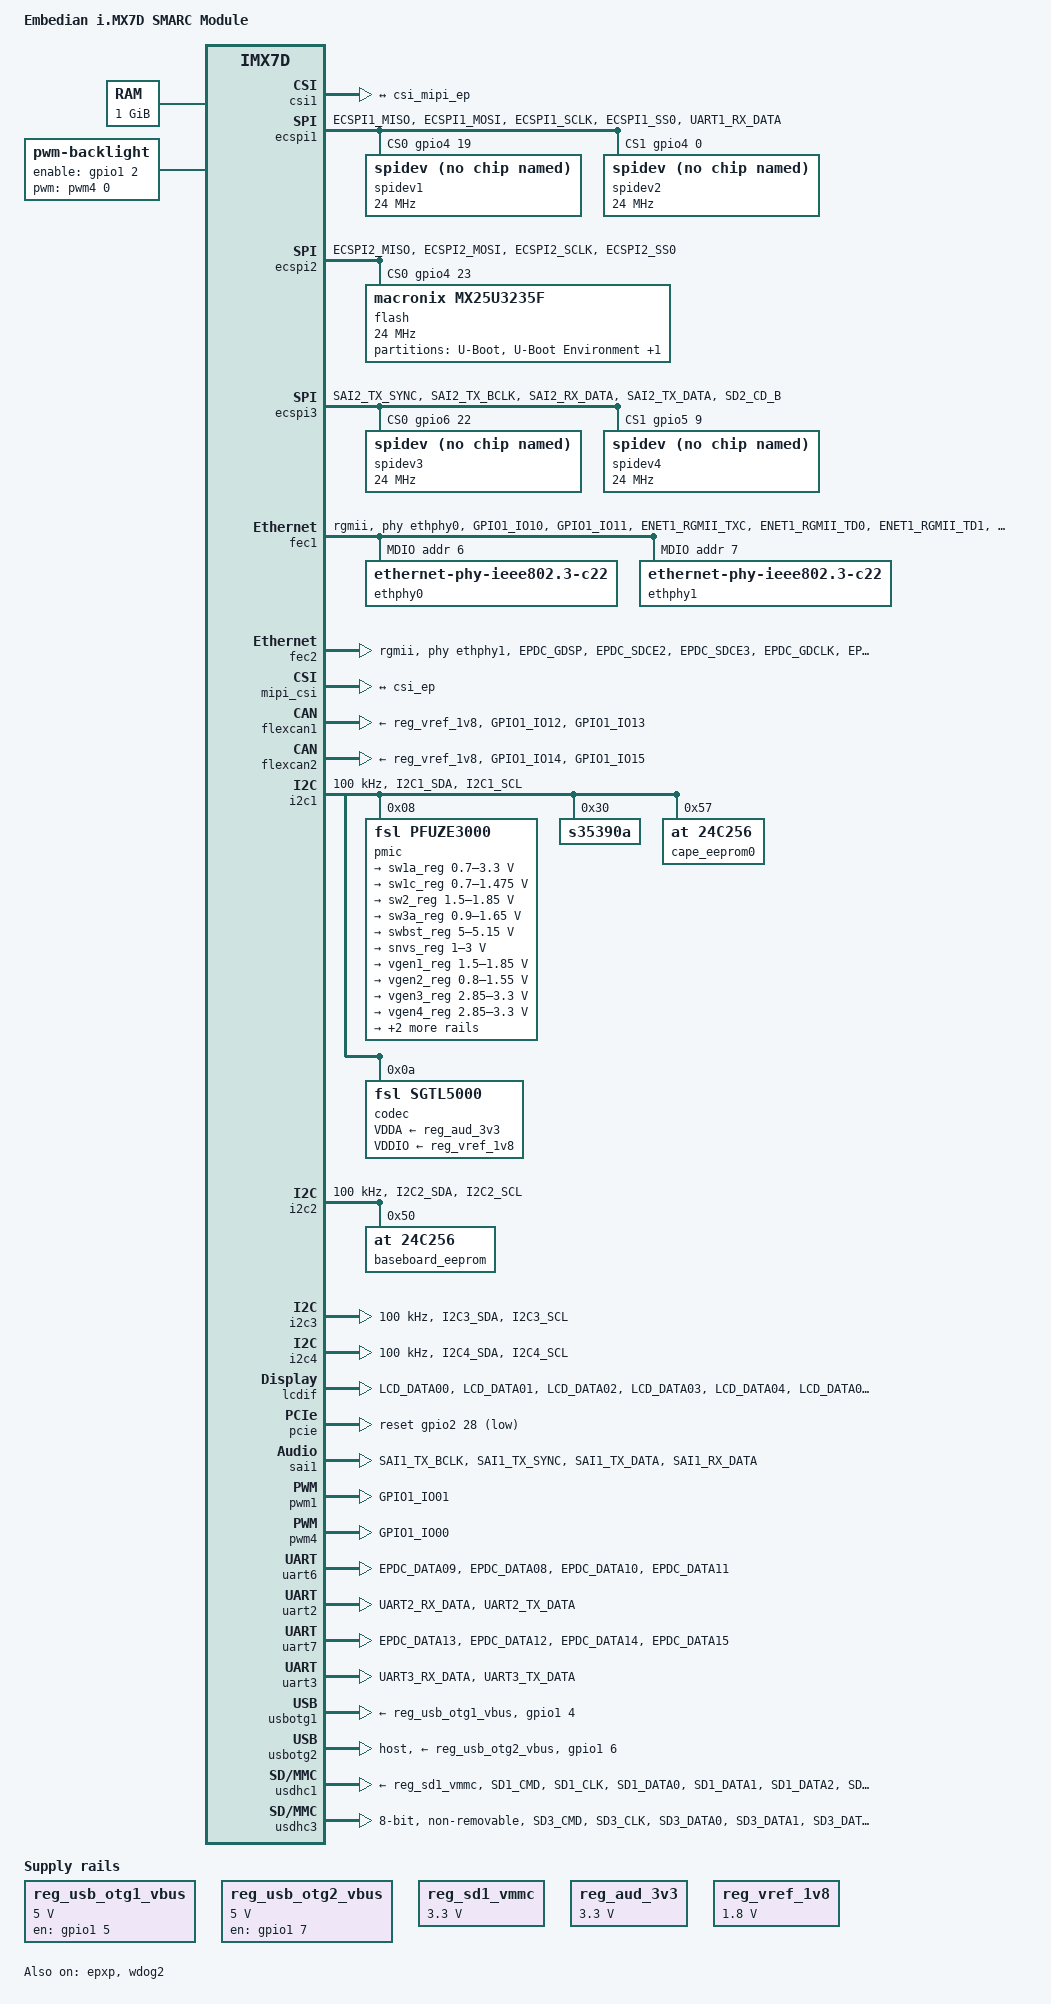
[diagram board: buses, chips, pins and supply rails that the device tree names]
/*
 * This program is free software; you can redistribute it and/or modify
 * it under the terms of the GNU General Public License version 2 as
 * published by the Free Software Foundation.
 */

/dts-v1/;

#include <dt-bindings/input/input.h>
#include "imx7d.dtsi"

/ {
	model = "Embedian i.MX7D SMARC Module";
	compatible = "fsl,imx7d-smarcfimx7", "fsl,imx7d";

	memory {
		reg = <0x80000000 0x40000000>;	/*1 GB */
	};

	backlight {
		compatible = "pwm-backlight";
                enable-gpios = <&gpio1 2 GPIO_ACTIVE_HIGH>; /* Backlight Enable Pin*/
		pwms = <&pwm4 0 5000000>;
		brightness-levels = <0 4 8 16 32 64 128 255>;
		default-brightness-level = <7>;
		status = "okay";
	};

	pxp_v4l2_out {
		compatible = "fsl,imx7d-pxp-v4l2", "fsl,imx6sx-pxp-v4l2", "fsl,imx6sl-pxp-v4l2";
		status = "okay";
	};

        sound {
                compatible = "fsl,imx7d-smarcfimx7-sgtl5000",
                             "fsl,imx-audio-sgtl5000";
                model = "sgtl5000-audio";
                cpu-dai = <&sai1>;
                audio-codec = <&codec>;
                codec-master;
                audio-routing =
                       	"LINE_IN", "Line In Jack",
                        "MIC_IN", "Mic Jack",
                        "Mic Jack", "Mic Bias",
                        "Headphone Jack", "HP_OUT";
        };

	regulators {
		compatible = "simple-bus";
		#address-cells = <1>;
		#size-cells = <0>;

		reg_usb_otg1_vbus: regulator@0 {
			compatible = "regulator-fixed";
			reg = <0>;
			regulator-name = "usb_otg1_vbus";
			regulator-min-microvolt = <5000000>;
			regulator-max-microvolt = <5000000>;
			gpio = <&gpio1 5 GPIO_ACTIVE_HIGH>;
			enable-active-high;
		};

		reg_usb_otg2_vbus: regulator@1 {
			compatible = "regulator-fixed";
			reg = <1>;
			regulator-name = "usb_otg2_vbus";
			regulator-min-microvolt = <5000000>;
			regulator-max-microvolt = <5000000>;
			gpio = <&gpio1 7 GPIO_ACTIVE_HIGH>;
			enable-active-high;
		};

		reg_sd1_vmmc: regulator@3 {
			compatible = "regulator-fixed";
			regulator-name = "VDD_SD1";
			regulator-min-microvolt = <3300000>;
			regulator-max-microvolt = <3300000>;
			startup-delay-us = <70000>;
			enable-active-high;
		};

                reg_aud_3v3: regulator@4 {
                        compatible = "regulator-fixed";
                        reg = <4>;
                        regulator-name = "aud-3v3";
                        regulator-min-microvolt = <3300000>;
                        regulator-max-microvolt = <3300000>;
                };

		reg_vref_1v8: regulator@5 {
			compatible = "regulator-fixed";
			reg = <5>;
			regulator-name = "vref-1v8";
			regulator-min-microvolt = <1800000>;
			regulator-max-microvolt = <1800000>;
			regulator-always-on;
		};
	};
};

&cpu0 {
	arm-supply = <&sw1a_reg>;
};

&clks {
	assigned-clocks = <&clks IMX7D_PLL_AUDIO_POST_DIV>;
	assigned-clock-rates = <884736000>;
};

&csi1 {
	csi-mux-mipi = <&gpr 0x14 4>;
	status = "okay";

	port {
		csi_ep: endpoint {
			remote-endpoint = <&csi_mipi_ep>;
		};
	};
};

&epxp {
        status = "okay";
};

/* SPI0 */
&ecspi1 {
        fsl,spi-num-chipselects = <2>;
        cs-gpios = <&gpio4 19 GPIO_ACTIVE_HIGH>, <&gpio4 0 GPIO_ACTIVE_HIGH>;
        pinctrl-names = "default";
        pinctrl-0 = <&pinctrl_ecspi1 &pinctrl_ecspi1_cs>;
        status = "okay";

        spidev1: spidev@0 {
                compatible = "spidev";
                spi-max-frequency = <24000000>;
                reg = <0>;
        };
        spidev2: spidev@1 {
                compatible = "spidev";
                spi-max-frequency = <24000000>;
                reg = <1>;
        };
};

/* SPINOR */
&ecspi2 {
        fsl,spi-num-chipselects = <1>;
        pinctrl-names = "default";
        pinctrl-0 = <&pinctrl_ecspi2 &pinctrl_ecspi2_cs>;
        cs-gpios = <&gpio4 23 GPIO_ACTIVE_HIGH>;
        status = "okay";

        flash: mx25u3235f@0 {
                #address-cells = <1>;
                #size-cells = <1>;
                compatible = "macronix,mx25u3235f", "jedec,spi-nor";
                spi-max-frequency = <24000000>;
                reg = <0>;
                        partition@0 {
                                label = "U-Boot";
                                reg = <0x0 0x100000>;
                        };

                        partition@100000 {
                                label = "U-Boot Environment";
                                reg = <0x100000 0x080000>;
                        };

                        partition@180000 {
                                label = "Flattened Device Tree";
                                reg = <0x180000 0x200000>;
                        };

        };
};

/* ECSPI */
&ecspi3 {
	fsl,spi-num-chipselects = <2>;
	pinctrl-names = "default";
	pinctrl-0 = <&pinctrl_ecspi3 &pinctrl_ecspi3_cs>;
        cs-gpios = <&gpio6 22 GPIO_ACTIVE_HIGH>, <&gpio5 9 GPIO_ACTIVE_HIGH>;
	status = "okay";

        spidev3: spidev@0 {
                compatible = "spidev";
                spi-max-frequency = <24000000>;
                reg = <0>;
        };
        spidev4: spidev@4 {
                compatible = "spidev";
                spi-max-frequency = <24000000>;
                reg = <1>;
        };
};

&fec1 {
	pinctrl-names = "default";
	pinctrl-0 = <&pinctrl_enet1>;
	assigned-clocks = <&clks IMX7D_ENET1_TIME_ROOT_SRC>,
			  <&clks IMX7D_ENET1_TIME_ROOT_CLK>;
	assigned-clock-parents = <&clks IMX7D_PLL_ENET_MAIN_100M_CLK>;
	assigned-clock-rates = <0>, <100000000>;
	phy-mode = "rgmii";
	phy-handle = <&ethphy0>;
	fsl,magic-packet;
	status = "okay";

	mdio {
		#address-cells = <1>;
		#size-cells = <0>;

		ethphy0: ethernet-phy@6 {
			compatible = "ethernet-phy-ieee802.3-c22";
			reg = <0x6>;
		};

		ethphy1: ethernet-phy@7 {
			compatible = "ethernet-phy-ieee802.3-c22";
			reg = <0x7>;
		};
	};
};

&fec2 {
	pinctrl-names = "default";
	pinctrl-0 = <&pinctrl_enet2>;
	assigned-clocks = <&clks IMX7D_ENET2_TIME_ROOT_SRC>,
			  <&clks IMX7D_ENET2_TIME_ROOT_CLK>;
	assigned-clock-parents = <&clks IMX7D_PLL_ENET_MAIN_100M_CLK>;
	assigned-clock-rates = <0>, <100000000>;
	phy-mode = "rgmii";
	phy-handle = <&ethphy1>;
	fsl,magic-packet;
	status = "okay";
};

&mipi_csi {
	clock-frequency = <240000000>;
	status = "okay";
	port {
		csi_mipi_ep: endpoint1 {
			remote-endpoint = <&csi_ep>;
		};
	};
};

&flexcan1 {
        pinctrl-names = "default";
        pinctrl-0 = <&pinctrl_flexcan1>;
        xceiver-supply = <&reg_vref_1v8>;
        status = "okay";
};

&flexcan2 {
	pinctrl-names = "default";
	pinctrl-0 = <&pinctrl_flexcan2>;
	xceiver-supply = <&reg_vref_1v8>;
	status = "okay";
};

&i2c1 {
	clock-frequency = <100000>;
	pinctrl-names = "default";
	pinctrl-0 = <&pinctrl_i2c1>;
	status = "okay";

	pmic: pfuze3000@08 {
		compatible = "fsl,pfuze3000";
		reg = <0x08>;

		regulators {
			sw1a_reg: sw1a {
				regulator-min-microvolt = <700000>;
				regulator-max-microvolt = <3300000>;
				regulator-boot-on;
				regulator-always-on;
				regulator-ramp-delay = <6250>;
			};

			/* use sw1c_reg to align with pfuze100/pfuze200 */
			sw1c_reg: sw1b {
				regulator-min-microvolt = <700000>;
				regulator-max-microvolt = <1475000>;
				regulator-boot-on;
				regulator-always-on;
				regulator-ramp-delay = <6250>;
			};

			sw2_reg: sw2 {
				regulator-min-microvolt = <1500000>;
				regulator-max-microvolt = <1850000>;
				regulator-boot-on;
				regulator-always-on;
			};

			sw3a_reg: sw3 {
				regulator-min-microvolt = <900000>;
				regulator-max-microvolt = <1650000>;
				regulator-boot-on;
				regulator-always-on;
			};

			swbst_reg: swbst {
				regulator-min-microvolt = <5000000>;
				regulator-max-microvolt = <5150000>;
			};

			snvs_reg: vsnvs {
				regulator-min-microvolt = <1000000>;
				regulator-max-microvolt = <3000000>;
				regulator-boot-on;
				regulator-always-on;
			};

			vref_reg: vrefddr {
				regulator-boot-on;
				regulator-always-on;
			};

			vgen1_reg: vldo1 {
                                regulator-min-microvolt = <1500000>;
                                regulator-max-microvolt = <1850000>;
				regulator-always-on;
			};

			vgen2_reg: vldo2 {
				regulator-min-microvolt = <800000>;
				regulator-max-microvolt = <1550000>;
				regulator-always-on;
			};

			vgen3_reg: vccsd {
				regulator-min-microvolt = <2850000>;
				regulator-max-microvolt = <3300000>;
				regulator-always-on;
			};

			vgen4_reg: v33 {
				regulator-min-microvolt = <2850000>;
				regulator-max-microvolt = <3300000>;
				regulator-always-on;
			};

			vgen5_reg: vldo3 {
				regulator-min-microvolt = <1800000>;
				regulator-max-microvolt = <3300000>;
				regulator-always-on;
			};

			vgen6_reg: vldo4 {
				regulator-min-microvolt = <1800000>;
				regulator-max-microvolt = <3300000>;
				regulator-always-on;
			};
		};
	};

        s35390a: s35390a@30 {
                compatible = "s35390a";
                reg = <0x30>;
        };

        cape_eeprom0: cape_eeprom@57 {
                compatible = "at,24c256";
                reg = <0x57>;
        };

        codec: sgtl5000@0a {
                compatible = "fsl,sgtl5000";
                reg = <0x0a>;
                clocks = <&clks IMX7D_AUDIO_MCLK_ROOT_CLK>;
                clock-names = "mclk";
                pinctrl-names = "default";
                pinctrl-0 = <&pinctrl_sai1_mclk>;
                VDDA-supply = <&reg_aud_3v3>;
                VDDIO-supply = <&reg_vref_1v8>;
                assigned-clocks = <&clks IMX7D_AUDIO_MCLK_ROOT_SRC>,
                                  <&clks IMX7D_AUDIO_MCLK_ROOT_CLK>;
                assigned-clock-parents = <&clks IMX7D_PLL_AUDIO_POST_DIV>;
                assigned-clock-rates = <0>, <12288000>;
        };
};

&i2c2 {
	clock-frequency = <100000>;
	pinctrl-names = "default";
	pinctrl-0 = <&pinctrl_i2c2>;
	status = "okay";

        baseboard_eeprom: baseboard_eeprom@50 {
                compatible = "at,24c256";
                reg = <0x50>;
        };
};

&i2c3 {
	clock-frequency = <100000>;
	pinctrl-names = "default";
	pinctrl-0 = <&pinctrl_i2c3>;
	status = "okay";
};

&i2c4 {
	clock-frequency = <100000>;
	pinctrl-names = "default";
	pinctrl-0 = <&pinctrl_i2c4>;
	status = "okay";
};

&iomuxc {
	pinctrl-names = "default";
	pinctrl-0 = <&pinctrl_hog_1>;

	imx7d-smarcfimx7 {
		pinctrl_hog_1: hoggrp-1 {
			fsl,pins = <
				MX7D_PAD_SD2_CMD__GPIO5_IO13		0x80000000  	/* lvds channel select */
				MX7D_PAD_EPDC_PWR_STAT__GPIO2_IO31	0x80000000	/* pcie_wake# */
                                MX7D_PAD_EPDC_DATA00__GPIO2_IO0      	0x80000000      /* GPIO0 */
				MX7D_PAD_EPDC_DATA01__GPIO2_IO1		0x80000000      /* GPIO1 */
                                MX7D_PAD_EPDC_DATA02__GPIO2_IO2         0x80000000      /* GPIO2 */
				MX7D_PAD_EPDC_DATA03__GPIO2_IO3		0x80000000      /* GPIO3 */
 				MX7D_PAD_EPDC_DATA04__GPIO2_IO4		0x80000000      /* GPIO4 */
				MX7D_PAD_EPDC_DATA05__GPIO2_IO5		0x80000000      /* GPIO6 */
				MX7D_PAD_EPDC_DATA07__GPIO2_IO7		0x80000000      /* GPIO7 */
 				MX7D_PAD_EPDC_DATA06__GPIO2_IO6		0x80000000      /* GPIO8 */
				MX7D_PAD_UART1_TX_DATA__GPIO4_IO1	0x80000000      /* GPIO9 */
				MX7D_PAD_UART3_RTS_B__GPIO4_IO6		0x80000000      /* GPIO10 */
				MX7D_PAD_UART3_CTS_B__GPIO4_IO7		0x80000000      /* GPIO11 */
				MX7D_PAD_SD2_DATA0__GPIO5_IO14		0x80000000      /* SLEEP# */
				MX7D_PAD_GPIO1_IO09__GPIO1_IO9		0x80000000      /* CHARGER_PRSNT# */
				MX7D_PAD_GPIO1_IO08__GPIO1_IO8		0x80000000      /* CHARGING# */
				MX7D_PAD_SAI1_RX_SYNC__GPIO6_IO16	0x80000000      /* CARRIER_STBY# */
				MX7D_PAD_SAI1_RX_BCLK__GPIO6_IO17	0x80000000      /* CARRIER_PWR_ON# */
				MX7D_PAD_SD2_RESET_B__GPIO5_IO11	0x80000000      /* BATLOW# */
                                MX7D_PAD_SD1_RESET_B__GPIO5_IO2         0x80000000      /* SDIO_PWR_EN */
				MX7D_PAD_LCD_RESET__GPIO3_IO4		0x80000000	/* LCD POWER */
				MX7D_PAD_EPDC_BDR1__GPIO2_IO29		0x80000000      /* RESET_OUT# */
			>;
		};

                pinctrl_ecspi1_cs: ecspi1_cs_grp {
                        fsl,pins = <
				MX7D_PAD_ECSPI1_SS0__GPIO4_IO19		0x14
                                MX7D_PAD_UART1_RX_DATA__GPIO4_IO0	0x14
                        >;
                };

                pinctrl_ecspi1: ecspi1grp {
                        fsl,pins = <
                                MX7D_PAD_ECSPI1_MISO__ECSPI1_MISO	0x2
                                MX7D_PAD_ECSPI1_MOSI__ECSPI1_MOSI	0x2
                                MX7D_PAD_ECSPI1_SCLK__ECSPI1_SCLK      	0x2
                        >;
                };

                pinctrl_ecspi2_cs: ecspi2_cs_grp {
                        fsl,pins = <
                                MX7D_PAD_ECSPI2_SS0__GPIO4_IO23         0x14
                        >;
                };

                pinctrl_ecspi2: ecspi2grp {
                        fsl,pins = <
                                MX7D_PAD_ECSPI2_MISO__ECSPI2_MISO       0x2
                                MX7D_PAD_ECSPI2_MOSI__ECSPI2_MOSI       0x2
                                MX7D_PAD_ECSPI2_SCLK__ECSPI2_SCLK       0x2
                        >;
                };

		pinctrl_ecspi3_cs: ecspi3_cs_grp {
			fsl,pins = <
				MX7D_PAD_SAI2_TX_DATA__GPIO6_IO22	0x14
				MX7D_PAD_SD2_CD_B__GPIO5_IO9          	0x14
			>;
		};

		pinctrl_ecspi3: ecspi3grp {
			fsl,pins = <
				MX7D_PAD_SAI2_TX_SYNC__ECSPI3_MISO	0x2
				MX7D_PAD_SAI2_TX_BCLK__ECSPI3_MOSI	0x2
				MX7D_PAD_SAI2_RX_DATA__ECSPI3_SCLK	0x2
			>;
		};

		pinctrl_enet1: enet1grp {
			fsl,pins = <
				MX7D_PAD_GPIO1_IO10__ENET1_MDIO		0x3
				MX7D_PAD_GPIO1_IO11__ENET1_MDC		0x3
				MX7D_PAD_ENET1_RGMII_TXC__ENET1_RGMII_TXC	0x1
				MX7D_PAD_ENET1_RGMII_TD0__ENET1_RGMII_TD0	0x1
				MX7D_PAD_ENET1_RGMII_TD1__ENET1_RGMII_TD1	0x1
				MX7D_PAD_ENET1_RGMII_TD2__ENET1_RGMII_TD2	0x1
				MX7D_PAD_ENET1_RGMII_TD3__ENET1_RGMII_TD3	0x1
				MX7D_PAD_ENET1_RGMII_TX_CTL__ENET1_RGMII_TX_CTL	0x1
				MX7D_PAD_ENET1_RGMII_RXC__ENET1_RGMII_RXC	0x1
				MX7D_PAD_ENET1_RGMII_RD0__ENET1_RGMII_RD0	0x1
				MX7D_PAD_ENET1_RGMII_RD1__ENET1_RGMII_RD1	0x1
				MX7D_PAD_ENET1_RGMII_RD2__ENET1_RGMII_RD2	0x1
				MX7D_PAD_ENET1_RGMII_RD3__ENET1_RGMII_RD3	0x1
				MX7D_PAD_ENET1_RGMII_RX_CTL__ENET1_RGMII_RX_CTL	0x1
			>;
		};

		pinctrl_enet2: enet2grp {
			fsl,pins = <
				MX7D_PAD_EPDC_GDSP__ENET2_RGMII_TXC		0x1
				MX7D_PAD_EPDC_SDCE2__ENET2_RGMII_TD0		0x1
				MX7D_PAD_EPDC_SDCE3__ENET2_RGMII_TD1		0x1
				MX7D_PAD_EPDC_GDCLK__ENET2_RGMII_TD2		0x1
				MX7D_PAD_EPDC_GDOE__ENET2_RGMII_TD3		0x1
				MX7D_PAD_EPDC_GDRL__ENET2_RGMII_TX_CTL		0x1
				MX7D_PAD_EPDC_SDCE1__ENET2_RGMII_RXC		0x1
				MX7D_PAD_EPDC_SDCLK__ENET2_RGMII_RD0		0x1
				MX7D_PAD_EPDC_SDLE__ENET2_RGMII_RD1		0x1
				MX7D_PAD_EPDC_SDOE__ENET2_RGMII_RD2		0x1
				MX7D_PAD_EPDC_SDSHR__ENET2_RGMII_RD3		0x1
				MX7D_PAD_EPDC_SDCE0__ENET2_RGMII_RX_CTL		0x1
			>;
		};

                pinctrl_epdc0: epdcgrp0 {
                        fsl,pins = <
				MX7D_PAD_EPDC_DATA00__EPDC_DATA0  	0x2
				MX7D_PAD_EPDC_DATA01__EPDC_DATA1  	0x2
				MX7D_PAD_EPDC_DATA02__EPDC_DATA2  	0x2
				MX7D_PAD_EPDC_DATA03__EPDC_DATA3  	0x2
				MX7D_PAD_EPDC_DATA04__EPDC_DATA4  	0x2
				MX7D_PAD_EPDC_DATA05__EPDC_DATA5  	0x2
				MX7D_PAD_EPDC_DATA06__EPDC_DATA6  	0x2
				MX7D_PAD_EPDC_DATA07__EPDC_DATA7  	0x2
				MX7D_PAD_EPDC_DATA08__EPDC_DATA8  	0x2
				MX7D_PAD_EPDC_DATA09__EPDC_DATA9  	0x2
				MX7D_PAD_EPDC_DATA10__EPDC_DATA10 	0x2
				MX7D_PAD_EPDC_DATA11__EPDC_DATA11 	0x2
				MX7D_PAD_EPDC_DATA12__EPDC_DATA12 	0x2
				MX7D_PAD_EPDC_DATA13__EPDC_DATA13 	0x2
				MX7D_PAD_EPDC_DATA14__EPDC_DATA14 	0x2
				MX7D_PAD_EPDC_DATA15__EPDC_DATA15 	0x2
				MX7D_PAD_EPDC_SDCLK__EPDC_SDCLK   	0x2
				MX7D_PAD_EPDC_SDLE__EPDC_SDLE     	0x2
				MX7D_PAD_EPDC_SDOE__EPDC_SDOE     	0x2
				MX7D_PAD_EPDC_SDSHR__EPDC_SDSHR   	0x2
				MX7D_PAD_EPDC_SDCE0__EPDC_SDCE0   	0x2
				MX7D_PAD_EPDC_SDCE1__EPDC_SDCE1   	0x2
				MX7D_PAD_EPDC_GDCLK__EPDC_GDCLK   	0x2
				MX7D_PAD_EPDC_GDOE__EPDC_GDOE     	0x2
				MX7D_PAD_EPDC_GDRL__EPDC_GDRL     	0x2
				MX7D_PAD_EPDC_GDSP__EPDC_GDSP     	0x2
                        >;
                };

                pinctrl_flexcan1: flexcan1grp {
                        fsl,pins = <
				MX7D_PAD_GPIO1_IO12__FLEXCAN1_RX	0x19
                                MX7D_PAD_GPIO1_IO13__FLEXCAN1_TX       	0x59
                        >;
                };

		pinctrl_flexcan2: flexcan2grp {
			fsl,pins = <
				MX7D_PAD_GPIO1_IO14__FLEXCAN2_RX	0x59
				MX7D_PAD_GPIO1_IO15__FLEXCAN2_TX	0x59
			>;
		};

		pinctrl_i2c1: i2c1grp {
			fsl,pins = <
				MX7D_PAD_I2C1_SDA__I2C1_SDA		0x4000007f
				MX7D_PAD_I2C1_SCL__I2C1_SCL		0x4000007f
			>;
		};

		pinctrl_i2c2: i2c2grp {
			fsl,pins = <
				MX7D_PAD_I2C2_SDA__I2C2_SDA		0x4000007f
				MX7D_PAD_I2C2_SCL__I2C2_SCL		0x4000007f
			>;
		};

		pinctrl_i2c3: i2c3grp {
			fsl,pins = <
				MX7D_PAD_I2C3_SDA__I2C3_SDA    		0x4000007f
				MX7D_PAD_I2C3_SCL__I2C3_SCL    		0x4000007f
			>;
		};

		pinctrl_i2c4: i2c4grp {
			fsl,pins = <
				MX7D_PAD_I2C4_SDA__I2C4_SDA		0x4000007f
				MX7D_PAD_I2C4_SCL__I2C4_SCL		0x4000007f
			>;
		};

		pinctrl_lcdif_dat: lcdifdatgrp {
			fsl,pins = <
				MX7D_PAD_LCD_DATA00__LCD_DATA0	0x79
				MX7D_PAD_LCD_DATA01__LCD_DATA1	0x79
				MX7D_PAD_LCD_DATA02__LCD_DATA2	0x79
				MX7D_PAD_LCD_DATA03__LCD_DATA3	0x79
				MX7D_PAD_LCD_DATA04__LCD_DATA4	0x79
				MX7D_PAD_LCD_DATA05__LCD_DATA5	0x79
				MX7D_PAD_LCD_DATA06__LCD_DATA6	0x79
				MX7D_PAD_LCD_DATA07__LCD_DATA7	0x79
				MX7D_PAD_LCD_DATA08__LCD_DATA8	0x79
				MX7D_PAD_LCD_DATA09__LCD_DATA9	0x79
				MX7D_PAD_LCD_DATA10__LCD_DATA10	0x79
				MX7D_PAD_LCD_DATA11__LCD_DATA11	0x79
				MX7D_PAD_LCD_DATA12__LCD_DATA12	0x79
				MX7D_PAD_LCD_DATA13__LCD_DATA13	0x79
				MX7D_PAD_LCD_DATA14__LCD_DATA14	0x79
				MX7D_PAD_LCD_DATA15__LCD_DATA15	0x79
				MX7D_PAD_LCD_DATA16__LCD_DATA16	0x79
				MX7D_PAD_LCD_DATA17__LCD_DATA17	0x79
				MX7D_PAD_LCD_DATA18__LCD_DATA18	0x79
				MX7D_PAD_LCD_DATA19__LCD_DATA19	0x79
				MX7D_PAD_LCD_DATA20__LCD_DATA20	0x79
				MX7D_PAD_LCD_DATA21__LCD_DATA21	0x79
				MX7D_PAD_LCD_DATA22__LCD_DATA22	0x79
				MX7D_PAD_LCD_DATA23__LCD_DATA23	0x79
			>;
		};

		pinctrl_lcdif_ctrl: lcdifctrlgrp {
			fsl,pins = <
				MX7D_PAD_LCD_CLK__LCD_CLK	0x79
				MX7D_PAD_LCD_ENABLE__LCD_ENABLE	0x79
				MX7D_PAD_LCD_VSYNC__LCD_VSYNC	0x79
				MX7D_PAD_LCD_HSYNC__LCD_HSYNC	0x79
			>;
		};

		pinctrl_sai1: sai1grp {
			fsl,pins = <
				MX7D_PAD_SAI1_TX_BCLK__SAI1_TX_BCLK     0x1f
				MX7D_PAD_SAI1_TX_SYNC__SAI1_TX_SYNC	0x1f
				MX7D_PAD_SAI1_TX_DATA__SAI1_TX_DATA0	0x30
				MX7D_PAD_SAI1_RX_DATA__SAI1_RX_DATA0	0x1f
			>;
		};

                pinctrl_sai1_mclk: sai1grp_mclk {
                        fsl,pins = <
                                MX7D_PAD_SAI1_MCLK__SAI1_MCLK           0x1f
                        >;
                };

		pinctrl_sai2: sai2grp {
			fsl,pins = <
				MX7D_PAD_SAI2_TX_BCLK__SAI2_TX_BCLK     0x1f
				MX7D_PAD_SAI2_TX_SYNC__SAI2_TX_SYNC     0x1f
				MX7D_PAD_SAI2_TX_DATA__SAI2_TX_DATA0    0x30
				MX7D_PAD_SAI2_RX_DATA__SAI2_RX_DATA0    0x1f
			>;
		};

		pinctrl_sai3: sai3grp {
			fsl,pins = <
				MX7D_PAD_UART3_TX_DATA__SAI3_TX_BCLK   0x1f
				MX7D_PAD_UART3_CTS_B__SAI3_TX_SYNC     0x1f
				MX7D_PAD_UART3_RTS_B__SAI3_TX_DATA0    0x30
			>;
		};

		pinctrl_uart1: uart1grp {
			fsl,pins = <
				MX7D_PAD_UART1_TX_DATA__UART1_DCE_TX 	0x79
				MX7D_PAD_UART1_RX_DATA__UART1_DCE_RX 	0x79
			>;
		};

                pinctrl_uart2: uart2grp {
                        fsl,pins = <
                               	MX7D_PAD_UART2_RX_DATA__UART2_DCE_RX 	0x79
                                MX7D_PAD_UART2_TX_DATA__UART2_DCE_TX 	0x79
                        >;
                };

                pinctrl_uart3: uart3grp {
                        fsl,pins = <
                                MX7D_PAD_UART3_RX_DATA__UART3_DCE_RX    0x79
                                MX7D_PAD_UART3_TX_DATA__UART3_DCE_TX    0x79
                        >;
                };

		pinctrl_uart5: uart5grp {
			fsl,pins = <
				MX7D_PAD_SAI1_TX_BCLK__UART5_DCE_TX	0x79
				MX7D_PAD_SAI1_RX_DATA__UART5_DCE_RX	0x79
			>;
		};

		pinctrl_uart5dte: uart5dtegrp {
			fsl,pins = <
				MX7D_PAD_SAI1_TX_BCLK__UART5_DTE_RX 0x79
				MX7D_PAD_SAI1_RX_DATA__UART5_DTE_TX 0x79
			>;
		};

		pinctrl_uart6: uart6grp {
			fsl,pins = <
				MX7D_PAD_EPDC_DATA09__UART6_DCE_TX 	0x79
				MX7D_PAD_EPDC_DATA08__UART6_DCE_RX 	0x79
				MX7D_PAD_EPDC_DATA10__UART6_DTE_CTS 	0x79
				MX7D_PAD_EPDC_DATA11__UART6_DTE_RTS 	0x79
			>;
		};

                pinctrl_uart7: uart7grp {
                        fsl,pins = <
                                MX7D_PAD_EPDC_DATA13__UART7_DCE_TX      0x79
                                MX7D_PAD_EPDC_DATA12__UART7_DCE_RX      0x79
                                MX7D_PAD_EPDC_DATA14__UART7_DTE_CTS     0x79
                                MX7D_PAD_EPDC_DATA15__UART7_DTE_RTS     0x79
                        >;
                };

		pinctrl_usdhc1_gpio: usdhc1_gpiogrp {
			fsl,pins = <
				MX7D_PAD_SD1_CD_B__GPIO5_IO0		0x59 /* CD */
				MX7D_PAD_SD1_WP__GPIO5_IO1		0x59 /* WP */
			>;
		};

		pinctrl_usbotg2_pwr_1: usbotg2-1 {
			fsl,pins = <
				MX7D_PAD_UART3_CTS_B__GPIO4_IO7		0x14
			>;
		};

		pinctrl_usdhc1: usdhc1grp {
			fsl,pins = <
				MX7D_PAD_SD1_CMD__SD1_CMD		0x59
				MX7D_PAD_SD1_CLK__SD1_CLK		0x19
				MX7D_PAD_SD1_DATA0__SD1_DATA0		0x59
				MX7D_PAD_SD1_DATA1__SD1_DATA1		0x59
				MX7D_PAD_SD1_DATA2__SD1_DATA2		0x59
				MX7D_PAD_SD1_DATA3__SD1_DATA3		0x59
			>;
		};

		pinctrl_usdhc1_100mhz: usdhc1grp_100mhz {
			fsl,pins = <
				MX7D_PAD_SD1_CMD__SD1_CMD		0x5a
				MX7D_PAD_SD1_CLK__SD1_CLK		0x1a
				MX7D_PAD_SD1_DATA0__SD1_DATA0		0x5a
				MX7D_PAD_SD1_DATA1__SD1_DATA1		0x5a
				MX7D_PAD_SD1_DATA2__SD1_DATA2		0x5a
				MX7D_PAD_SD1_DATA3__SD1_DATA3		0x5a
			>;
		};

		pinctrl_usdhc1_200mhz: usdhc1grp_200mhz {
			fsl,pins = <
				MX7D_PAD_SD1_CMD__SD1_CMD		0x5b
				MX7D_PAD_SD1_CLK__SD1_CLK		0x1b
				MX7D_PAD_SD1_DATA0__SD1_DATA0		0x5b
				MX7D_PAD_SD1_DATA1__SD1_DATA1		0x5b
				MX7D_PAD_SD1_DATA2__SD1_DATA2		0x5b
				MX7D_PAD_SD1_DATA3__SD1_DATA3		0x5b
			>;
		};

		pinctrl_usdhc2: usdhc2grp {
			fsl,pins = <
				MX7D_PAD_SD2_CMD__SD2_CMD       	0x59
				MX7D_PAD_SD2_CLK__SD2_CLK       	0x19
				MX7D_PAD_SD2_DATA0__SD2_DATA0   	0x59
				MX7D_PAD_SD2_DATA1__SD2_DATA1   	0x59
				MX7D_PAD_SD2_DATA2__SD2_DATA2   	0x59
				MX7D_PAD_SD2_DATA3__SD2_DATA3   	0x59
				MX7D_PAD_ECSPI2_MOSI__GPIO4_IO21	0x59 /* WL_REG_ON */
			>;
		};

		pinctrl_usdhc2_100mhz: usdhc2grp_100mhz {
			fsl,pins = <
				MX7D_PAD_SD2_CMD__SD2_CMD       	0x5a
				MX7D_PAD_SD2_CLK__SD2_CLK       	0x1a
				MX7D_PAD_SD2_DATA0__SD2_DATA0   	0x5a
				MX7D_PAD_SD2_DATA1__SD2_DATA1   	0x5a
				MX7D_PAD_SD2_DATA2__SD2_DATA2   	0x5a
				MX7D_PAD_SD2_DATA3__SD2_DATA3   	0x5a
			>;
		};

		pinctrl_usdhc2_200mhz: usdhc2grp_200mhz {
			fsl,pins = <
				MX7D_PAD_SD2_CMD__SD2_CMD       	0x5b
				MX7D_PAD_SD2_CLK__SD2_CLK       	0x1b
				MX7D_PAD_SD2_DATA0__SD2_DATA0   	0x5b
				MX7D_PAD_SD2_DATA1__SD2_DATA1   	0x5b
				MX7D_PAD_SD2_DATA2__SD2_DATA2   	0x5b
				MX7D_PAD_SD2_DATA3__SD2_DATA3   	0x5b
			>;
		};

		pinctrl_usdhc3: usdhc3grp {
			fsl,pins = <
				MX7D_PAD_SD3_CMD__SD3_CMD		0x59
				MX7D_PAD_SD3_CLK__SD3_CLK		0x19
				MX7D_PAD_SD3_DATA0__SD3_DATA0		0x59
				MX7D_PAD_SD3_DATA1__SD3_DATA1		0x59
				MX7D_PAD_SD3_DATA2__SD3_DATA2		0x59
				MX7D_PAD_SD3_DATA3__SD3_DATA3		0x59
				MX7D_PAD_SD3_DATA4__SD3_DATA4		0x59
				MX7D_PAD_SD3_DATA5__SD3_DATA5		0x59
				MX7D_PAD_SD3_DATA6__SD3_DATA6		0x59
				MX7D_PAD_SD3_DATA7__SD3_DATA7		0x59
				MX7D_PAD_SD3_STROBE__SD3_STROBE         0x19
			>;
		};

		pinctrl_usdhc3_100mhz: usdhc3grp_100mhz {
			fsl,pins = <
				MX7D_PAD_SD3_CMD__SD3_CMD		0x5a
				MX7D_PAD_SD3_CLK__SD3_CLK		0x1a
				MX7D_PAD_SD3_DATA0__SD3_DATA0		0x5a
				MX7D_PAD_SD3_DATA1__SD3_DATA1		0x5a
				MX7D_PAD_SD3_DATA2__SD3_DATA2		0x5a
				MX7D_PAD_SD3_DATA3__SD3_DATA3		0x5a
				MX7D_PAD_SD3_DATA4__SD3_DATA4		0x5a
				MX7D_PAD_SD3_DATA5__SD3_DATA5		0x5a
				MX7D_PAD_SD3_DATA6__SD3_DATA6		0x5a
				MX7D_PAD_SD3_DATA7__SD3_DATA7		0x5a
				MX7D_PAD_SD3_STROBE__SD3_STROBE         0x1a
			>;
		};

		pinctrl_usdhc3_200mhz: usdhc3grp_200mhz {
			fsl,pins = <
				MX7D_PAD_SD3_CMD__SD3_CMD		0x5b
				MX7D_PAD_SD3_CLK__SD3_CLK		0x1b
				MX7D_PAD_SD3_DATA0__SD3_DATA0		0x5b
				MX7D_PAD_SD3_DATA1__SD3_DATA1		0x5b
				MX7D_PAD_SD3_DATA2__SD3_DATA2		0x5b
				MX7D_PAD_SD3_DATA3__SD3_DATA3		0x5b
				MX7D_PAD_SD3_DATA4__SD3_DATA4		0x5b
				MX7D_PAD_SD3_DATA5__SD3_DATA5		0x5b
				MX7D_PAD_SD3_DATA6__SD3_DATA6		0x5b
				MX7D_PAD_SD3_DATA7__SD3_DATA7		0x5b
				MX7D_PAD_SD3_STROBE__SD3_STROBE         0x1b
			>;
		};

                pinctrl_wdog: wdoggrp {
                        fsl,pins = <
                                MX7D_PAD_ENET1_RX_CLK__WDOG2_WDOG_B     0x74
                        >;
                };
	};
};

&lcdif {
	pinctrl-names = "default";
	pinctrl-0 = <&pinctrl_lcdif_dat
		     &pinctrl_lcdif_ctrl>;
	display = <&display0>;
	status = "okay";

	display0: lcd-display {
		bits-per-pixel = <32>;
		bus-width = <24>;

		display-timings {
			native-mode = <&timing0>;
			timing0: g070vw01 {
			clock-frequency = <33300000>;
			hactive = <800>;
			vactive = <480>;
			hfront-porch = <64>;
			hback-porch = <64>;
			hsync-len = <128>;
			vback-porch = <12>;
			vfront-porch = <4>;
			vsync-len = <12>;

			hsync-active = <0>;
			vsync-active = <0>;
			de-active = <1>;
			pixelclk-active = <0>;
			};
		};
	};
};

&pcie {
	pinctrl-names = "default";
	reset-gpio = <&gpio2 28 GPIO_ACTIVE_LOW>;
	status = "okay";
};

&sai1 {
	pinctrl-names = "default";
	pinctrl-0 = <&pinctrl_sai1>;
        assigned-clocks = <&clks IMX7D_SAI1_ROOT_SRC>,
                          <&clks IMX7D_SAI1_ROOT_CLK>;
        assigned-clock-parents = <&clks IMX7D_PLL_AUDIO_POST_DIV>;
        assigned-clock-rates = <0>, <36864000>;
	status = "okay";
};

&sdma {
	status = "okay";
};

/* GPIO5 configure as pwm1, to use GPIO5 as GPIO disabled this pin */

&pwm1 {
        pinctrl-names = "default";
        pinctrl-0 = <&pinctrl_pwm1>;
        status = "okay";
};

&pwm4 {
	pinctrl-names = "default";
	pinctrl-0 = <&pinctrl_pwm4>;
	status = "okay";
};

&iomuxc_lpsr {
	pinctrl-names = "default";
	pinctrl-0 = <&pinctrl_hog_2 &pinctrl_usbotg2_pwr_2>;

	imx7d-smarcfimx7 {
		pinctrl_hog_2: hoggrp-2 {
			fsl,pins = <
				MX7D_PAD_GPIO1_IO05__GPIO1_IO5	  	0x14
			>;
		};

                pinctrl_pwm1: pwm1grp {
                        fsl,pins = <
                                MX7D_PAD_GPIO1_IO01__PWM1_OUT     	0x30
                        >;
                };

		pinctrl_pwm4: pwm4grp {
			fsl,pins = <
				MX7D_PAD_GPIO1_IO00__PWM4_OUT	  	0x30
			>;
		};

		pinctrl_usbotg2_pwr_2: usbotg2-2 {
			fsl,pins = <
				MX7D_PAD_GPIO1_IO07__GPIO1_IO7 0x14
			>;
		};

		pinctrl_enet2_epdc0_en: enet2_epdc0_grp {
			fsl,pins = <
				MX7D_PAD_GPIO1_IO04__GPIO1_IO4		0x59
			>;
		};

		pinctrl_sai3_mclk: sai3grp_mclk {
			fsl,pins = <
				MX7D_PAD_GPIO1_IO03__SAI3_MCLK         	0x1f
			>;
		};
	};
};

/* SER0/UART6 */
&uart6 {
        pinctrl-names = "default";
        pinctrl-0 = <&pinctrl_uart6>;
        assigned-clocks = <&clks IMX7D_UART6_ROOT_SRC>;
        assigned-clock-parents = <&clks IMX7D_PLL_SYS_MAIN_240M_CLK>;
        fsl,uart-has-rtscts;
        status = "okay";
};

/* SER1/UART2 */
&uart2 {
        pinctrl-names = "default";
        pinctrl-0 = <&pinctrl_uart2>;
        assigned-clocks = <&clks IMX7D_UART2_ROOT_SRC>;
        assigned-clock-parents = <&clks IMX7D_PLL_SYS_MAIN_240M_CLK>;
        status = "okay";
};

/* SER2/UART7 */
&uart7 {
        pinctrl-names = "default";
        pinctrl-0 = <&pinctrl_uart7>;
        assigned-clocks = <&clks IMX7D_UART7_ROOT_SRC>;
        assigned-clock-parents = <&clks IMX7D_PLL_SYS_MAIN_240M_CLK>;
        fsl,uart-has-rtscts;
        status = "okay";
};

/* SER3/UART3 */
&uart3 {
        pinctrl-names = "default";
        pinctrl-0 = <&pinctrl_uart3>;
        assigned-clocks = <&clks IMX7D_UART3_ROOT_SRC>;
        assigned-clock-parents = <&clks IMX7D_PLL_SYS_MAIN_240M_CLK>;
        status = "okay";
};

&usbotg1 {
	vbus-supply = <&reg_usb_otg1_vbus>;
        gpios = <&gpio1 4 2>;
	srp-disable;
	hnp-disable;
	adp-disable;
	status = "okay";
};

&usbotg2 {
	vbus-supply = <&reg_usb_otg2_vbus>;
        gpios = <&gpio1 6 2>;
	dr_mode = "host";
	status = "okay";
};

&usdhc1 {
        pinctrl-names = "default";
        pinctrl-0 = <&pinctrl_usdhc1>;
	cd-gpios = <&gpio5 0 GPIO_ACTIVE_LOW>;
	wp-gpios = <&gpio5 1 GPIO_ACTIVE_HIGH>;
        no-1-8-v;
	vmmc-supply = <&reg_sd1_vmmc>;
	enable-sdio-wakeup;
	keep-power-in-suspend;
	status = "okay";
};

&usdhc3 {
	pinctrl-names = "default", "state_100mhz", "state_200mhz";
	pinctrl-0 = <&pinctrl_usdhc3>;
	pinctrl-1 = <&pinctrl_usdhc3_100mhz>;
	pinctrl-2 = <&pinctrl_usdhc3_200mhz>;
	assigned-clocks = <&clks IMX7D_USDHC3_ROOT_CLK>;
	assigned-clock-rates = <400000000>;
	bus-width = <8>;
	non-removable;
	status = "okay";
};

&wdog2 {
	pinctrl-names = "default";
	pinctrl-0 = <&pinctrl_wdog>;
	fsl,wdog_b;
	status = "okay";
};
